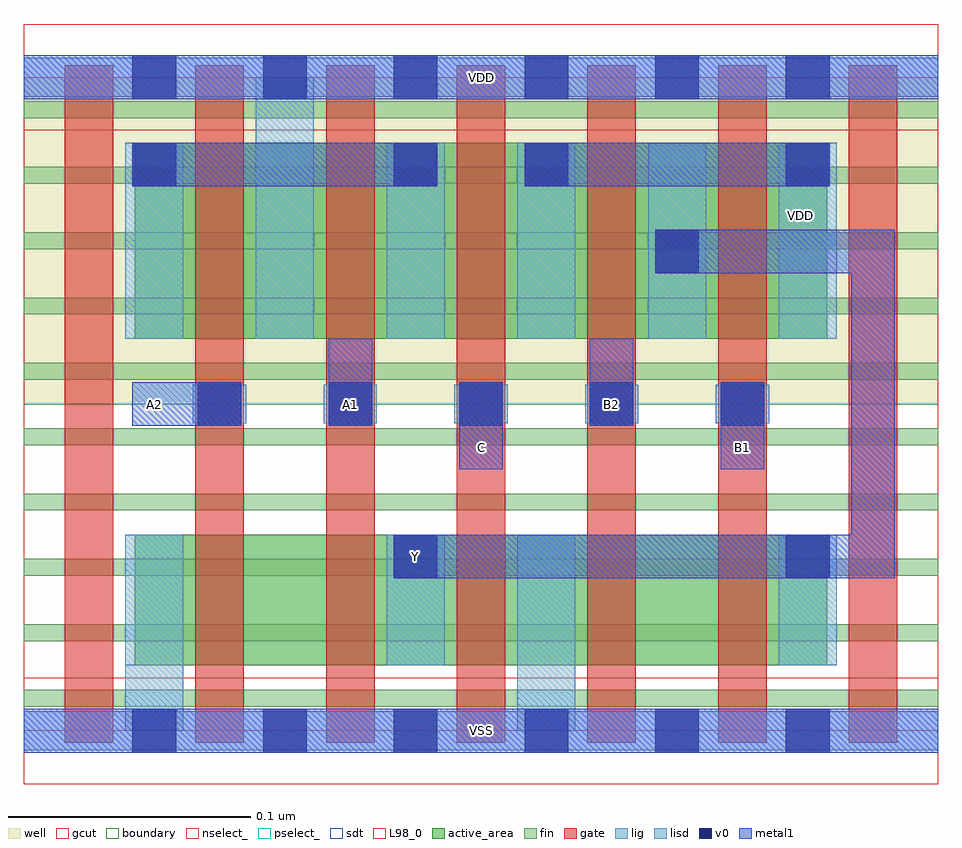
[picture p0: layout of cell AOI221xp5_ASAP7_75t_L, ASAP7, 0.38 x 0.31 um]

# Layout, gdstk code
import gdstk
lib = gdstk.Library(unit=1e-6, precision=2.5e-10)
def R(c, l, rs):  # rectangles x0, y0, x1, y1
    for r in rs: c.add(gdstk.rectangle(r[:2], r[2:], *l))
def A(c, l, x, y, w, h, nx, ny, dx, dy):  # array of equal rectangles
    R(c, l, [(x+i*dx, y+j*dy, x+i*dx+w, y+j*dy+h) for i in range(nx) for j in range(ny)])
def P(c, l, *ps):  # polygons
    for p in ps: c.add(gdstk.Polygon(p, *l))
well = (1, 0)
fin = (2, 0)
gate = (7, 0)
gcut = (10, 0)
active_area = (11, 0)
nselect_ = (12, 0)
pselect_ = (13, 0)
lig = (16, 0)
lisd = (17, 0)
v0 = (18, 0)
metal1 = (19, 0)
sdt = (88, 0)
L98_0 = (98, 0)
boundary = (100, 0)

aoi221xp5_asap7_75t_l = lib.new_cell('AOI221xp5_ASAP7_75t_L')
R(aoi221xp5_asap7_75t_l, well, [(0,0.135,0.378,0.27)])
A(aoi221xp5_asap7_75t_l, fin, 0, 0.01, 0.378, 0.007, 1, 10, 0, 0.027)
A(aoi221xp5_asap7_75t_l, gate, 0.017, -0.005, 0.02, 0.28, 7, 1, 0.054, 0)
R(aoi221xp5_asap7_75t_l, gcut, [(0,-0.022,0.378,0.022), (0,0.248,0.378,0.292)])
R(aoi221xp5_asap7_75t_l, active_area, [(0.046,0.027,0.332,0.081), (0.046,0.162,0.332,0.243)])
R(aoi221xp5_asap7_75t_l, nselect_, [(0,0,0.378,0.135)])
R(aoi221xp5_asap7_75t_l, pselect_, [(0,0.135,0.378,0.27)])
A(aoi221xp5_asap7_75t_l, lig, 0.07, 0.127, 0.022, 0.016, 5, 1, 0.054, 0)
R(aoi221xp5_asap7_75t_l, lig, [(0,-0.008,0.378,0.008), (0,0.262,0.378,0.278)])
A(aoi221xp5_asap7_75t_l, lisd, 0.15, 0.162, 0.024, 0.081, 4, 1, 0.054, 0)
R(aoi221xp5_asap7_75t_l, lisd, [(0.042,0,0.066,0.081), (0.204,0,0.228,0.081), (0.15,0.027,0.174,0.081), (0.312,0.027,0.336,0.081), (0.042,0.162,0.066,0.243), (0.096,0.162,0.12,0.27)])
A(aoi221xp5_asap7_75t_l, v0, 0.045, -0.009, 0.018, 0.018, 6, 2, 0.054, 0.27)
A(aoi221xp5_asap7_75t_l, v0, 0.072, 0.126, 0.018, 0.018, 5, 1, 0.054, 0)
R(aoi221xp5_asap7_75t_l, v0, [(0.153,0.063,0.171,0.081), (0.315,0.063,0.333,0.081), (0.261,0.189,0.279,0.207), (0.045,0.225,0.063,0.243), (0.153,0.225,0.171,0.243), (0.207,0.225,0.225,0.243), (0.315,0.225,0.333,0.243)])
R(aoi221xp5_asap7_75t_l, metal1, [(0,-0.009,0.378,0.009), (0.18,0.108,0.198,0.144), (0.288,0.108,0.306,0.144), (0.045,0.126,0.09,0.144), (0.126,0.126,0.144,0.162), (0.234,0.126,0.252,0.162), (0.045,0.225,0.171,0.243), (0.207,0.225,0.333,0.243), (0,0.261,0.378,0.279)])
P(aoi221xp5_asap7_75t_l, metal1, [(0.261,0.207),(0.261,0.189),(0.342,0.189),(0.342,0.081),(0.153,0.081),(0.153,0.063),(0.36,0.063),(0.36,0.207)])
A(aoi221xp5_asap7_75t_l, sdt, 0.042, 0.162, 0.024, 0.081, 6, 1, 0.054, 0)
R(aoi221xp5_asap7_75t_l, sdt, [(0.042,0.027,0.066,0.081), (0.15,0.027,0.174,0.081), (0.204,0.027,0.228,0.081), (0.312,0.027,0.336,0.081)])
R(aoi221xp5_asap7_75t_l, L98_0, [(0,0,0.378,0.27)])
R(aoi221xp5_asap7_75t_l, boundary, [(0,0,0.378,0.27)])
aoi221xp5_asap7_75t_l.add(gdstk.Label('Y', (0.162,0.072), layer=19, texttype=251))
aoi221xp5_asap7_75t_l.add(gdstk.Label('C', (0.189,0.117), layer=19, texttype=251))
aoi221xp5_asap7_75t_l.add(gdstk.Label('B2', (0.243,0.135), layer=19, texttype=251))
aoi221xp5_asap7_75t_l.add(gdstk.Label('B1', (0.297,0.117), layer=19, texttype=251))
aoi221xp5_asap7_75t_l.add(gdstk.Label('A2', (0.054,0.135), layer=19, texttype=251))
aoi221xp5_asap7_75t_l.add(gdstk.Label('A1', (0.135,0.135), layer=19, texttype=251))
aoi221xp5_asap7_75t_l.add(gdstk.Label('VSS', (0.189,0), layer=19, texttype=251))
aoi221xp5_asap7_75t_l.add(gdstk.Label('VDD', (0.189,0.27), layer=19, texttype=251))
aoi221xp5_asap7_75t_l.add(gdstk.Label('VDD', (0.321,0.213), layer=1, texttype=251))
aoi221xp5_asap7_75t_l.add(gdstk.Label('VSS', (0.435,0.213), layer=3, texttype=251))

lib.write_gds('AOI221xp5_ASAP7_75t_L.gds')
